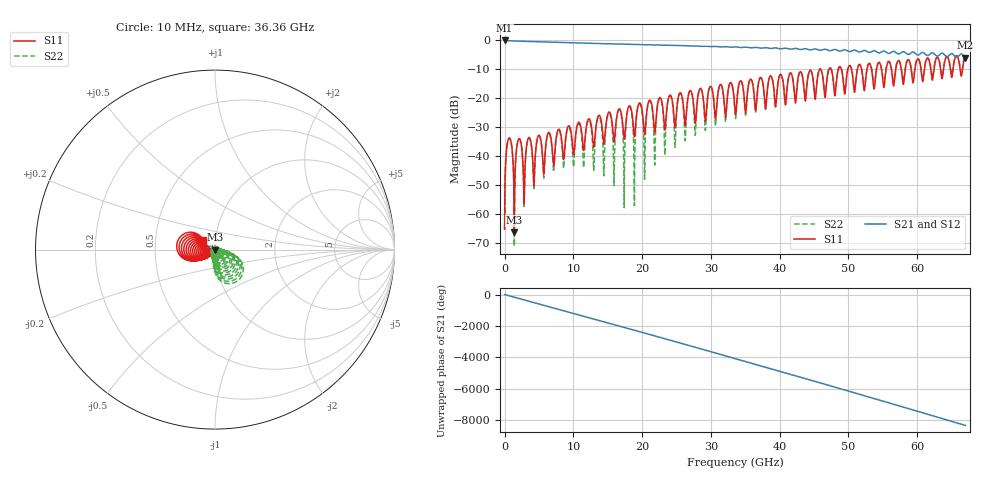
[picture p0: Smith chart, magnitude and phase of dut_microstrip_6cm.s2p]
! Created with skrf 2.1.0 (http://scikit-rf.org).
# Hz S RI R 50.0
!freq ReS11 ImS11 ReS21 ImS21 ReS12 ImS12 ReS22 ImS22
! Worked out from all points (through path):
!   6701 points, 10 MHz to 67 GHz, reference 50 ohm
!   highest |S21| = -0.01 dB at 10 MHz (marker M1); lowest = -6.0 dB at 67 GHz (marker M2)
!   lowest |S11| = -66.3 dB at 1.42 GHz (marker M3), VSWR 1.00, Z = 50 - j0.00642 ohm
!   |S11| at or under -10 dB: start of sweep to 45.82 GHz; 45.96 GHz to 47.15 GHz (1.194 GHz wide, 2.57 % of centre); 47.49 GHz to 48.53 GHz (1.034 GHz wide, 2.15 % of centre)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
!   |S22| runs from -71.1 to -5.2 dB; largest |S21 - S12| = 3.3e-15
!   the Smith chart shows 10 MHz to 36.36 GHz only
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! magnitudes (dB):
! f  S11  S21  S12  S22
! 10 MHz  -65.2  0.0  0.0  -65.2
! 579.9 MHz  -34.0  -0.1  -0.1  -34.0
! 1.42 GHz  -66.3  -0.2  -0.2  -71.1
! 2.11 GHz  -33.9  -0.3  -0.3  -34.0
! 2.84 GHz  -56.5  -0.3  -0.3  -57.4
! 3.539 GHz  -33.5  -0.4  -0.4  -33.6
! 4.259 GHz  -50.4  -0.4  -0.4  -51.1
! 11.18 GHz  -31.1  -0.9  -0.9  -32.3
! 15.93 GHz  -35.0  -1.2  -1.2  -49.1
! 16.67 GHz  -23.6  -1.3  -1.3  -24.0
! 17.41 GHz  -34.1  -1.3  -1.3  -52.6
! 18.15 GHz  -22.6  -1.4  -1.4  -22.9
! 18.89 GHz  -33.3  -1.4  -1.4  -51.6
! 19.63 GHz  -21.6  -1.5  -1.5  -21.9
! 20.36 GHz  -32.5  -1.5  -1.5  -48.0
! 21.1 GHz  -20.6  -1.6  -1.6  -20.9
! 21.84 GHz  -31.7  -1.6  -1.6  -43.0
! 22.35 GHz  -20.9  -1.6  -1.6  -21.1
! 33.51 GHz  -24.2  -2.2  -2.2  -25.2
! 44.67 GHz  -11.2  -3.2  -3.2  -11.1
! 55.84 GHz  -7.4  -4.5  -4.5  -7.2
! 67 GHz  -5.4  -6.0  -6.0  -5.2
